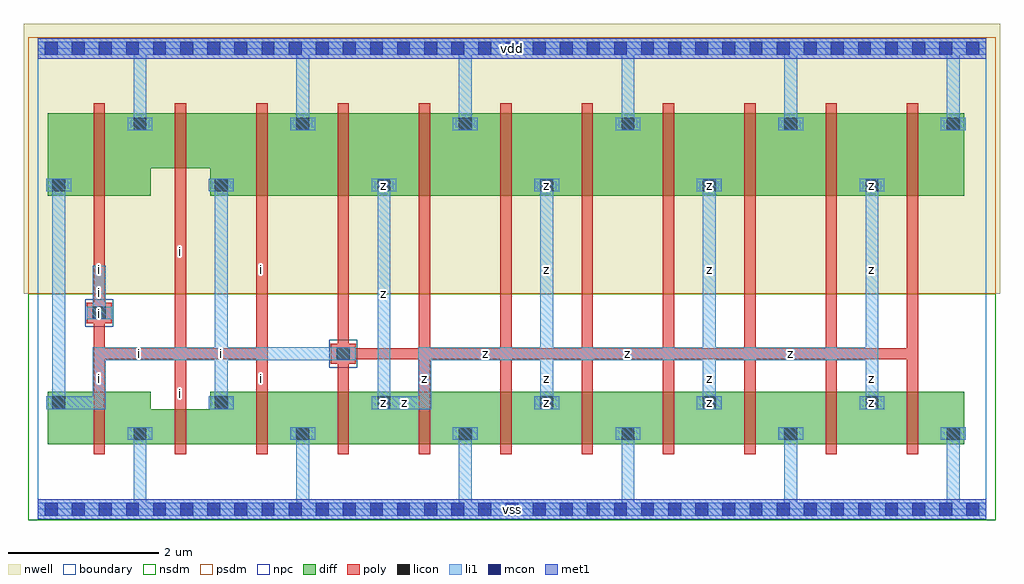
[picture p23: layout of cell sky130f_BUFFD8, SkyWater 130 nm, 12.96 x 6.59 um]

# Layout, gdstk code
import gdstk
lib = gdstk.Library(unit=1e-6, precision=1e-09)
def R(c, l, rs):  # rectangles x0, y0, x1, y1
    for r in rs: c.add(gdstk.rectangle(r[:2], r[2:], *l))
def A(c, l, x, y, w, h, nx, ny, dx, dy):  # array of equal rectangles
    R(c, l, [(x+i*dx, y+j*dy, x+i*dx+w, y+j*dy+h) for i in range(nx) for j in range(ny)])
L0_0 = (0, 0)
nwell = (64, 20)
diff = (65, 20)
poly = (66, 20)
licon = (66, 44)
li1 = (67, 20)
mcon = (67, 44)
met1 = (68, 20)
nsdm = (93, 44)
psdm = (94, 20)
npc = (95, 20)
boundary = (235, 4)

sky130f_buffd8 = lib.new_cell('sky130f_BUFFD8')
R(sky130f_buffd8, nwell, [(-0.18,2.86,12.78,6.445)])
A(sky130f_buffd8, diff, 1.215, 0.86, 0.29, 0.29, 6, 2, 2.16, 4.11)
A(sky130f_buffd8, diff, 2.295, 0.86, 1.37, 0.7, 9, 1, 1.08, 0)
A(sky130f_buffd8, diff, 0.135, 1.27, 0.29, 0.29, 6, 2, 2.16, 2.89)
A(sky130f_buffd8, diff, 2.295, 4.16, 1.37, 1.1, 9, 1, 1.08, 0)
R(sky130f_buffd8, diff, [(0.135,0.86,1.505,1.56), (1.215,0.86,2.585,1.33), (0.135,4.16,1.505,5.26), (1.215,4.525,2.585,5.26)])
A(sky130f_buffd8, poly, 2.905, 0.73, 0.15, 0.96, 9, 1, 1.08, 0)
A(sky130f_buffd8, poly, 2.905, 1.34, 0.15, 0.8, 9, 1, 1.08, 0)
A(sky130f_buffd8, poly, 2.905, 1.99, 0.15, 2.39, 9, 1, 1.08, 0)
A(sky130f_buffd8, poly, 3.985, 1.99, 1.23, 0.15, 7, 1, 1.08, 0)
A(sky130f_buffd8, poly, 2.905, 4.03, 0.15, 1.36, 9, 1, 1.08, 0)
R(sky130f_buffd8, poly, [(0.745,0.73,0.895,1.69), (1.825,0.73,1.975,1.46), (1.825,0.93,1.975,2.14), (0.745,1.34,0.895,2.14), (3.895,1.93,4.225,2.2), (0.745,1.99,1.975,2.14), (0.745,1.99,0.895,4.38), (1.825,1.99,3.055,2.14), (1.825,1.99,1.975,4.85), (0.655,2.47,0.985,2.74), (0.745,4.03,0.895,5.39), (1.825,4.395,1.975,5.39)])
A(sky130f_buffd8, licon, 1.275, 0.92, 0.17, 0.17, 6, 2, 2.16, 4.11)
A(sky130f_buffd8, licon, 0.195, 1.33, 0.17, 0.17, 6, 2, 2.16, 2.89)
R(sky130f_buffd8, licon, [(3.975,1.98,4.145,2.15), (0.735,2.52,0.905,2.69)])
A(sky130f_buffd8, li1, 1.275, 0.06, 0.17, 1.03, 6, 2, 2.16, 4.97)
A(sky130f_buffd8, li1, 1.195, 0.92, 0.33, 0.17, 6, 2, 2.16, 4.11)
A(sky130f_buffd8, li1, 0.115, 1.33, 0.33, 0.17, 6, 2, 2.16, 2.89)
A(sky130f_buffd8, li1, 6.675, 1.33, 0.17, 0.82, 3, 1, 2.16, 0)
A(sky130f_buffd8, li1, 6.675, 1.98, 0.17, 2.41, 3, 1, 2.16, 0)
R(sky130f_buffd8, li1, [(0,-0.085,12.6,0.085), (0.195,1.33,0.905,1.5), (0.195,1.33,0.365,4.39), (0.735,1.33,0.905,2.15), (2.355,1.33,2.525,2.15), (4.515,1.33,5.225,1.5), (4.515,1.33,4.685,4.39), (5.055,1.33,5.225,2.15), (0.735,1.98,2.525,2.15), (2.355,1.98,4.145,2.15), (2.355,1.98,2.525,4.39), (3.895,1.98,4.225,2.15), (5.055,1.98,6.845,2.15), (6.675,1.98,9.005,2.15), (8.835,1.98,11.165,2.15), (0.655,2.52,0.985,2.69), (0.735,2.52,0.905,3.23), (0,6.035,12.6,6.205)])
A(sky130f_buffd8, mcon, 0.095, -0.085, 0.17, 0.17, 35, 2, 0.36, 6.12)
R(sky130f_buffd8, met1, [(0,-0.135,12.6,0.135), (0,5.985,12.6,6.255)])
R(sky130f_buffd8, nsdm, [(-0.125,-0.145,12.725,0.145), (-0.125,0.145,12.725,2.86)])
R(sky130f_buffd8, psdm, [(-0.125,2.86,12.725,5.975), (-0.125,5.975,12.725,6.265)])
R(sky130f_buffd8, npc, [(3.875,1.88,4.245,2.25), (0.635,2.42,1.005,2.79)])
R(sky130f_buffd8, boundary, [(0,0,12.6,6.12)])
sky130f_buffd8.add(gdstk.FlexPath([(0.115,0.355),(12.325,0.355)], 0, ends="flush", simple_path=True, layer=0, datatype=0))  # L0_0
sky130f_buffd8.add(gdstk.FlexPath([(0.115,1.005),(12.325,1.005)], 0, ends="flush", simple_path=True, layer=0, datatype=0))  # L0_0
sky130f_buffd8.add(gdstk.FlexPath([(0.115,1.415),(12.325,1.415)], 0, ends="flush", simple_path=True, layer=0, datatype=0))  # L0_0
sky130f_buffd8.add(gdstk.FlexPath([(0.115,2.065),(12.325,2.065)], 0, ends="flush", simple_path=True, layer=0, datatype=0))  # L0_0
sky130f_buffd8.add(gdstk.FlexPath([(0.115,2.605),(12.325,2.605)], 0, ends="flush", simple_path=True, layer=0, datatype=0))  # L0_0
sky130f_buffd8.add(gdstk.FlexPath([(0.115,3.145),(12.325,3.145)], 0, ends="flush", simple_path=True, layer=0, datatype=0))  # L0_0
sky130f_buffd8.add(gdstk.FlexPath([(0.115,4.305),(12.325,4.305)], 0, ends="flush", simple_path=True, layer=0, datatype=0))  # L0_0
sky130f_buffd8.add(gdstk.FlexPath([(0.115,4.775),(12.325,4.775)], 0, ends="flush", simple_path=True, layer=0, datatype=0))  # L0_0
sky130f_buffd8.add(gdstk.FlexPath([(0.115,5.115),(12.325,5.115)], 0, ends="flush", simple_path=True, layer=0, datatype=0))  # L0_0
sky130f_buffd8.add(gdstk.FlexPath([(0.115,5.765),(12.325,5.765)], 0, ends="flush", simple_path=True, layer=0, datatype=0))  # L0_0
sky130f_buffd8.add(gdstk.FlexPath([(0.28,0.06),(0.28,6.06)], 0, ends="flush", simple_path=True, layer=0, datatype=0))  # L0_0
sky130f_buffd8.add(gdstk.FlexPath([(0.82,0.06),(0.82,6.06)], 0, ends="flush", simple_path=True, layer=0, datatype=0))  # L0_0
sky130f_buffd8.add(gdstk.FlexPath([(1.36,0.06),(1.36,6.06)], 0, ends="flush", simple_path=True, layer=0, datatype=0))  # L0_0
sky130f_buffd8.add(gdstk.FlexPath([(1.9,0.06),(1.9,6.06)], 0, ends="flush", simple_path=True, layer=0, datatype=0))  # L0_0
sky130f_buffd8.add(gdstk.FlexPath([(2.44,0.06),(2.44,6.06)], 0, ends="flush", simple_path=True, layer=0, datatype=0))  # L0_0
sky130f_buffd8.add(gdstk.FlexPath([(2.98,0.06),(2.98,6.06)], 0, ends="flush", simple_path=True, layer=0, datatype=0))  # L0_0
sky130f_buffd8.add(gdstk.FlexPath([(3.52,0.06),(3.52,6.06)], 0, ends="flush", simple_path=True, layer=0, datatype=0))  # L0_0
sky130f_buffd8.add(gdstk.FlexPath([(4.06,0.06),(4.06,6.06)], 0, ends="flush", simple_path=True, layer=0, datatype=0))  # L0_0
sky130f_buffd8.add(gdstk.FlexPath([(4.6,0.06),(4.6,6.06)], 0, ends="flush", simple_path=True, layer=0, datatype=0))  # L0_0
sky130f_buffd8.add(gdstk.FlexPath([(5.14,0.06),(5.14,6.06)], 0, ends="flush", simple_path=True, layer=0, datatype=0))  # L0_0
sky130f_buffd8.add(gdstk.FlexPath([(5.68,0.06),(5.68,6.06)], 0, ends="flush", simple_path=True, layer=0, datatype=0))  # L0_0
sky130f_buffd8.add(gdstk.FlexPath([(6.22,0.06),(6.22,6.06)], 0, ends="flush", simple_path=True, layer=0, datatype=0))  # L0_0
sky130f_buffd8.add(gdstk.FlexPath([(6.76,0.06),(6.76,6.06)], 0, ends="flush", simple_path=True, layer=0, datatype=0))  # L0_0
sky130f_buffd8.add(gdstk.FlexPath([(7.3,0.06),(7.3,6.06)], 0, ends="flush", simple_path=True, layer=0, datatype=0))  # L0_0
sky130f_buffd8.add(gdstk.FlexPath([(7.84,0.06),(7.84,6.06)], 0, ends="flush", simple_path=True, layer=0, datatype=0))  # L0_0
sky130f_buffd8.add(gdstk.FlexPath([(8.38,0.06),(8.38,6.06)], 0, ends="flush", simple_path=True, layer=0, datatype=0))  # L0_0
sky130f_buffd8.add(gdstk.FlexPath([(8.92,0.06),(8.92,6.06)], 0, ends="flush", simple_path=True, layer=0, datatype=0))  # L0_0
sky130f_buffd8.add(gdstk.FlexPath([(9.46,0.06),(9.46,6.06)], 0, ends="flush", simple_path=True, layer=0, datatype=0))  # L0_0
sky130f_buffd8.add(gdstk.FlexPath([(10,0.06),(10,6.06)], 0, ends="flush", simple_path=True, layer=0, datatype=0))  # L0_0
sky130f_buffd8.add(gdstk.FlexPath([(10.54,0.06),(10.54,6.06)], 0, ends="flush", simple_path=True, layer=0, datatype=0))  # L0_0
sky130f_buffd8.add(gdstk.FlexPath([(11.08,0.06),(11.08,6.06)], 0, ends="flush", simple_path=True, layer=0, datatype=0))  # L0_0
sky130f_buffd8.add(gdstk.FlexPath([(11.62,0.06),(11.62,6.06)], 0, ends="flush", simple_path=True, layer=0, datatype=0))  # L0_0
sky130f_buffd8.add(gdstk.FlexPath([(12.16,0.06),(12.16,6.06)], 0, ends="flush", simple_path=True, layer=0, datatype=0))  # L0_0
sky130f_buffd8.add(gdstk.Label('z', (4.6,1.415), layer=65, texttype=20))
sky130f_buffd8.add(gdstk.Label('z', (6.76,1.415), layer=65, texttype=20))
sky130f_buffd8.add(gdstk.Label('z', (8.92,1.415), layer=65, texttype=20))
sky130f_buffd8.add(gdstk.Label('z', (11.08,1.415), layer=65, texttype=20))
sky130f_buffd8.add(gdstk.Label('z', (4.6,4.305), layer=65, texttype=20))
sky130f_buffd8.add(gdstk.Label('z', (6.76,4.305), layer=65, texttype=20))
sky130f_buffd8.add(gdstk.Label('z', (8.92,4.305), layer=65, texttype=20))
sky130f_buffd8.add(gdstk.Label('z', (11.08,4.305), layer=65, texttype=20))
sky130f_buffd8.add(gdstk.Label('i', (0.82,1.74), layer=66, texttype=20))
sky130f_buffd8.add(gdstk.Label('i', (1.36,2.065), layer=66, texttype=20))
sky130f_buffd8.add(gdstk.Label('i', (1.9,1.535), layer=66, texttype=20))
sky130f_buffd8.add(gdstk.Label('i', (2.44,2.065), layer=66, texttype=20))
sky130f_buffd8.add(gdstk.Label('i', (2.98,1.74), layer=66, texttype=20))
sky130f_buffd8.add(gdstk.Label('i', (0.82,3.185), layer=66, texttype=20))
sky130f_buffd8.add(gdstk.Label('i', (1.9,3.42), layer=66, texttype=20))
sky130f_buffd8.add(gdstk.Label('i', (2.98,3.185), layer=66, texttype=20))
sky130f_buffd8.add(gdstk.Label('i', (0.82,2.605), layer=66, texttype=20))
sky130f_buffd8.add(gdstk.Label('z', (4.6,1.415), layer=66, texttype=44))
sky130f_buffd8.add(gdstk.Label('z', (6.76,1.415), layer=66, texttype=44))
sky130f_buffd8.add(gdstk.Label('z', (8.92,1.415), layer=66, texttype=44))
sky130f_buffd8.add(gdstk.Label('z', (11.08,1.415), layer=66, texttype=44))
sky130f_buffd8.add(gdstk.Label('z', (4.6,4.305), layer=66, texttype=44))
sky130f_buffd8.add(gdstk.Label('z', (6.76,4.305), layer=66, texttype=44))
sky130f_buffd8.add(gdstk.Label('z', (8.92,4.305), layer=66, texttype=44))
sky130f_buffd8.add(gdstk.Label('z', (11.08,4.305), layer=66, texttype=44))
sky130f_buffd8.add(gdstk.Label('i', (0.82,2.605), layer=66, texttype=44))
sky130f_buffd8.add(gdstk.Label('i', (0.82,2.605), layer=67, texttype=5))
sky130f_buffd8.add(gdstk.Label('i', (0.82,2.875), layer=67, texttype=5))
sky130f_buffd8.add(gdstk.Label('z', (4.6,1.415), layer=67, texttype=5))
sky130f_buffd8.add(gdstk.Label('z', (6.76,1.415), layer=67, texttype=5))
sky130f_buffd8.add(gdstk.Label('z', (8.92,1.415), layer=67, texttype=5))
sky130f_buffd8.add(gdstk.Label('z', (11.08,1.415), layer=67, texttype=5))
sky130f_buffd8.add(gdstk.Label('z', (4.6,4.305), layer=67, texttype=5))
sky130f_buffd8.add(gdstk.Label('z', (6.76,4.305), layer=67, texttype=5))
sky130f_buffd8.add(gdstk.Label('z', (8.92,4.305), layer=67, texttype=5))
sky130f_buffd8.add(gdstk.Label('z', (11.08,4.305), layer=67, texttype=5))
sky130f_buffd8.add(gdstk.Label('z', (4.87,1.415), layer=67, texttype=5))
sky130f_buffd8.add(gdstk.Label('z', (5.14,1.74), layer=67, texttype=5))
sky130f_buffd8.add(gdstk.Label('z', (5.95,2.065), layer=67, texttype=5))
sky130f_buffd8.add(gdstk.Label('z', (6.76,1.74), layer=67, texttype=5))
sky130f_buffd8.add(gdstk.Label('z', (7.84,2.065), layer=67, texttype=5))
sky130f_buffd8.add(gdstk.Label('z', (8.92,1.74), layer=67, texttype=5))
sky130f_buffd8.add(gdstk.Label('z', (10,2.065), layer=67, texttype=5))
sky130f_buffd8.add(gdstk.Label('z', (11.08,1.74), layer=67, texttype=5))
sky130f_buffd8.add(gdstk.Label('z', (4.6,2.86), layer=67, texttype=5))
sky130f_buffd8.add(gdstk.Label('z', (6.76,3.185), layer=67, texttype=5))
sky130f_buffd8.add(gdstk.Label('z', (8.92,3.185), layer=67, texttype=5))
sky130f_buffd8.add(gdstk.Label('z', (11.08,3.185), layer=67, texttype=5))
sky130f_buffd8.add(gdstk.Label('vss', (6.3,0), layer=67, texttype=5))
sky130f_buffd8.add(gdstk.Label('vdd', (6.3,6.12), layer=67, texttype=5))
sky130f_buffd8.add(gdstk.Label('vss', (6.3,0), layer=68, texttype=5))
sky130f_buffd8.add(gdstk.Label('vdd', (6.3,6.12), layer=68, texttype=5))

lib.write_gds('sky130f_BUFFD8.gds')
